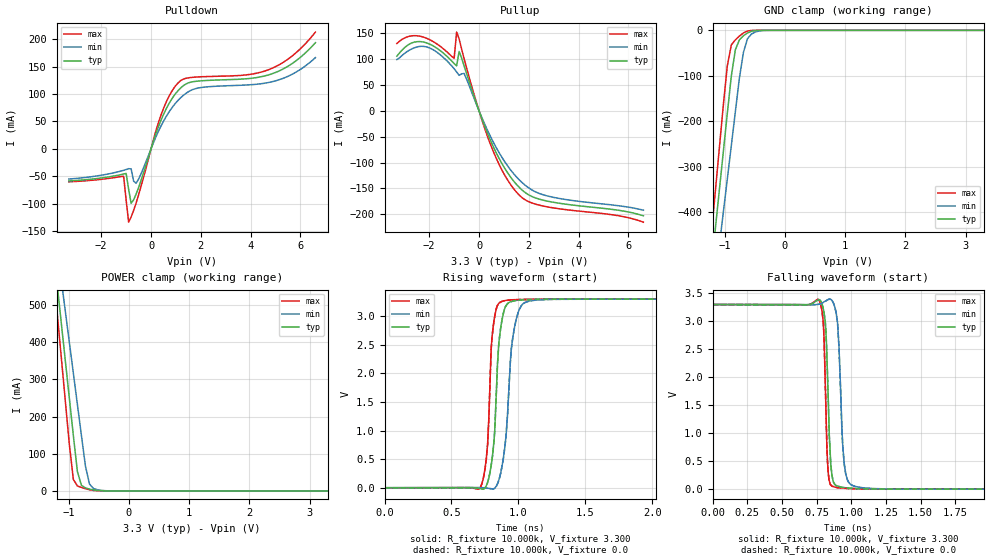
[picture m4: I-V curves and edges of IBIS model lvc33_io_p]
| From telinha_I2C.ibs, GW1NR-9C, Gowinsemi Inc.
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|   Model lvc33_io_p
[Model] lvc33_io_p
Model_type I/O
Polarity   Non-Inverting
Enable   Active-Low
Vmeas =  1.750V
C_comp   0.999pF   0.918pF   1.074pF
C_comp_pullup   0.147pF   0.142pF   0.159pF
C_comp_pulldown   0.166pF   0.148pF   0.171pF
[Model Spec]
Vmeas   1.750V   1.750V   1.750V
[Temperature Range]   25.000   0.125k   -40.000
[Voltage Range]   3.300V   3.300V   3.300V
[Pullup Reference]   3.300V   3.300V   3.300V
[POWER Clamp Reference]   3.300V   3.300V   3.300V
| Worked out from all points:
|   slope of the pulldown table from 0 to 0.495 V, typ, clamps not added: 7.96 ohm
|   slope of the pullup table from 0 to 0.495 V, typ, clamps not added: 8.11 ohm
|   GND clamp passes 1 mA (typ) near -0.51 V on its own axis
|   POWER clamp passes 1 mA (typ) near -0.51 V on its own axis
|   rising waveform, R_fixture 10.000k, V_fixture 3.300: 20-80 % time 47.9ps typ, 62.7ps min, 37ps max; typ from 0.002 V to 3.3 V
|   rising waveform, R_fixture 10.000k, V_fixture 0.0: 20-80 % time 47.9ps typ, 62.7ps min, 37ps max; typ from 0 V to 3.3 V
|   falling waveform, R_fixture 10.000k, V_fixture 3.300: 20-80 % time 26.6ps typ, 33ps min, 21.1ps max; typ from 3.3 V to 0.002 V
|   falling waveform, R_fixture 10.000k, V_fixture 0.0: 20-80 % time 26.6ps typ, 33ps min, 21.1ps max; typ from 3.3 V to 0 V
[Pulldown]
|Voltage   I(typ)   I(min)   I(max)
-3.3V     -58.63mA   -55.22mA   -60.29mA
-1.1V     -46.07mA   -39.27mA   -50.35mA
-1V       -45.01mA   -37.82mA   -93.73mA
-900mV    -73.79mA   -36.3mA    -134mA
-800mV    -99.6mA    -36.67mA   -124.5mA
-600mV    -82.83mA   -62.9mA    -99.21mA
400mV     52.2mA     41.66mA    61.66mA
1.1V      107mA      89.22mA    121mA
1.9V      123.7mA    111.1mA    131.2mA
4.7V      134.7mA    120.9mA    144.1mA
5.7V      156.7mA    136.9mA    170.7mA
6.6V      193.8mA    166.5mA    213.1mA
[Pullup]
|Voltage   I(typ)   I(min)   I(max)
-3.3V     105.7mA    99.18mA    130.2mA
-2.8V     128.9mA    117.2mA    144.2mA
-2.3V     133.6mA    124.8mA    143.5mA
-1V       91.39mA    81.48mA    101.5mA
-900mV    87.01mA    75.3mA     152.3mA
-800mV    114.8mA    68.66mA    139.4mA
-600mV    86.7mA     72.26mA    100.8mA
500mV     -61.61mA   -53.7mA    -69.85mA
1.1V      -116.4mA   -103.2mA   -130.1mA
1.8V      -156.1mA   -141.8mA   -170.5mA
3V        -177mA     -167.5mA   -187.9mA
6.6V      -203mA     -192.2mA   -215.4mA
[GND_clamp]
|Voltage   I(typ)   I(min)   I(max)
-3.3V     -3.219A    -2.952A    -3.466A
-1.223V   -525.3mA   -623.5mA   -453.6mA
-1.156V   -439.6mA   -549.2mA   -357.7mA
-1.089V   -354mA     -475.1mA   -261.9mA
-1.022V   -268.5mA   -401.1mA   -166.4mA
-955mV    -183.2mA   -327.1mA   -78.4mA
-888mV    -100.4mA   -253.1mA   -31.92mA
-821mV    -42.69mA   -178.8mA   -20.97mA
-687mV    -11.8mA    -48.47mA   -5.725mA
-553mV    -2.075mA   -8.085mA   -246.8uA
-352mV    -6.094uA   -305.2uA   -21.52nA
3.3V      437.8fA    0A         0A
[POWER_clamp]
|Voltage   I(typ)   I(min)   I(max)
-3.3V     3.848A     3.412A     4.256A
-1.256V   656.7mA    737mA      596.8mA
-1.189V   555mA      652.8mA    479mA
-1.122V   453.4mA    568.7mA    361.3mA
-1.055V   351.9mA    484.7mA    243.7mA
-921mV    149.1mA    317mA      31.03mA
-854mV    52.29mA    233.1mA    13.38mA
-787mV    15.08mA    149.2mA    9.406mA
-720mV    8.083mA    66.56mA    5.938mA
-653mV    4.878mA    18.45mA    3.131mA
-586mV    2.591mA    6.468mA    1.208mA
3.3V      0A         0A         0A
[Ramp]
| variable   typ   min   max
dV/dt_r   1.979/49.371p   1.978/61.513p   1.979/36.787p
dV/dt_f   1.979/29.747p   1.978/34.571p   1.979/26.651p
R_load = 10.000k
[Rising Waveform]
R_fixture= 10.000k
V_fixture= 3.300
|time   V(typ)   V(min)   V(max)
0s        2.173mV    2.784mV    1.806mV
713ps     -11.1mV    6.541mV    -988.3uV
769ps     88.84mV    -7.242mV   726.5mV
805ps     530.1mV    -19.23mV   2.676V
853ps     2.51V      130.3mV    3.225V
881ps     2.979V     422.2mV    3.263V
908ps     3.188V     919.2mV    3.277V
956ps     3.264V     2.6V       3.288V
1.065ns   3.292V     3.256V     3.295V
5ns       3.3V       3.3V       3.3V
[Rising Waveform]
R_fixture= 10.000k
V_fixture= 0.0
|time   V(typ)   V(min)   V(max)
0s        0V         1.594uV    0V
713ps     -13.28mV   3.76mV     -2.829mV
769ps     86.49mV    -10.03mV   722.1mV
805ps     526.5mV    -22.05mV   2.672V
823ps     983.5mV    -9.213mV   2.998V
853ps     2.505V     127.2mV    3.223V
882ps     2.988V     432.4mV    3.262V
956ps     3.262V     2.595V     3.286V
1.065ns   3.289V     3.253V     3.293V
5ns       3.298V     3.297V     3.298V
[Falling Waveform]
R_fixture= 10.000k
V_fixture= 3.300
|time   V(typ)   V(min)   V(max)
0s        3.3V       3.3V       3.3V
769ps     3.388V     3.308V     3.378V
800ps     3.213V     3.34V      2.939V
832ps     1.843V     3.388V     369.5mV
852ps     466.6mV    3.394V     77.27mV
877ps     105.6mV    3.292V     40.17mV
902ps     54.64mV    2.966V     28.06mV
949ps     28.05mV    473.3mV    16.47mV
1.019ns   13.52mV    57.54mV    9.45mV
5ns       2.173mV    2.784mV    1.806mV
[Falling Waveform]
R_fixture= 10.000k
V_fixture= 0.0
|time   V(typ)   V(min)   V(max)
0s        3.298V     3.297V     3.298V
769ps     3.385V     3.305V     3.376V
800ps     3.21V      3.337V     2.934V
832ps     1.83V      3.385V     363.8mV
851ps     495.5mV    3.392V     77.95mV
877ps     102.5mV    3.288V     38.22mV
902ps     52.09mV    2.959V     26.18mV
949ps     25.77mV    465.7mV    14.62mV
1.019ns   11.31mV    54.41mV    7.626mV
5ns       0V         1.594uV    0V
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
